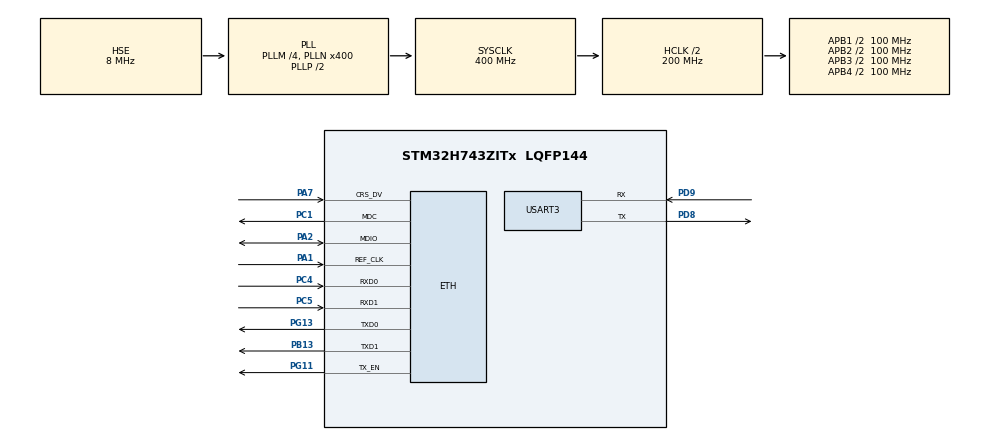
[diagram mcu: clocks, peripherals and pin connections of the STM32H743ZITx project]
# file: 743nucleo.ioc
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CORTEX_M7.AccessPermission-Cortex_Memory_Protection_Unit_Region0_Settings=MPU_REGION_PRIV_RO_URO
CORTEX_M7.AccessPermission-Cortex_Memory_Protection_Unit_Region1_Settings=MPU_REGION_FULL_ACCESS
CORTEX_M7.AccessPermission-Cortex_Memory_Protection_Unit_Region2_Settings=MPU_REGION_FULL_ACCESS
CORTEX_M7.AccessPermission-Cortex_Memory_Protection_Unit_Region3_Settings=MPU_REGION_FULL_ACCESS
CORTEX_M7.AccessPermission-Cortex_Memory_Protection_Unit_Region4_Settings=MPU_REGION_FULL_ACCESS
CORTEX_M7.AccessPermission-Cortex_Memory_Protection_Unit_Region5_Settings=MPU_REGION_FULL_ACCESS
CORTEX_M7.AccessPermission-Cortex_Memory_Protection_Unit_Region6_Settings=MPU_REGION_FULL_ACCESS
CORTEX_M7.AccessPermission-Cortex_Memory_Protection_Unit_Region7_Settings=MPU_REGION_FULL_ACCESS
CORTEX_M7.BaseAddress-Cortex_Memory_Protection_Unit_Region0_Settings=0x08000000
CORTEX_M7.BaseAddress-Cortex_Memory_Protection_Unit_Region1_Settings=0x24000000
CORTEX_M7.BaseAddress-Cortex_Memory_Protection_Unit_Region2_Settings=0x30000000
CORTEX_M7.BaseAddress-Cortex_Memory_Protection_Unit_Region3_Settings=0x30020000
CORTEX_M7.BaseAddress-Cortex_Memory_Protection_Unit_Region4_Settings=0x30040000
CORTEX_M7.BaseAddress-Cortex_Memory_Protection_Unit_Region5_Settings=0x38000000
CORTEX_M7.BaseAddress-Cortex_Memory_Protection_Unit_Region6_Settings=0x38800000
CORTEX_M7.BaseAddress-Cortex_Memory_Protection_Unit_Region7_Settings=0x30044000
CORTEX_M7.CPU_DCache=Enabled
CORTEX_M7.CPU_ICache=Enabled
CORTEX_M7.Enable-Cortex_Memory_Protection_Unit_Region0_Settings=MPU_REGION_ENABLE
CORTEX_M7.Enable-Cortex_Memory_Protection_Unit_Region1_Settings=MPU_REGION_ENABLE
CORTEX_M7.Enable-Cortex_Memory_Protection_Unit_Region2_Settings=MPU_REGION_ENABLE
CORTEX_M7.Enable-Cortex_Memory_Protection_Unit_Region3_Settings=MPU_REGION_ENABLE
CORTEX_M7.Enable-Cortex_Memory_Protection_Unit_Region4_Settings=MPU_REGION_ENABLE
CORTEX_M7.Enable-Cortex_Memory_Protection_Unit_Region5_Settings=MPU_REGION_ENABLE
CORTEX_M7.Enable-Cortex_Memory_Protection_Unit_Region6_Settings=MPU_REGION_ENABLE
CORTEX_M7.Enable-Cortex_Memory_Protection_Unit_Region7_Settings=MPU_REGION_ENABLE
CORTEX_M7.IsBufferable-Cortex_Memory_Protection_Unit_Region1_Settings=MPU_ACCESS_NOT_BUFFERABLE
CORTEX_M7.IsBufferable-Cortex_Memory_Protection_Unit_Region4_Settings=MPU_ACCESS_BUFFERABLE
CORTEX_M7.IsCacheable-Cortex_Memory_Protection_Unit_Region0_Settings=MPU_ACCESS_CACHEABLE
CORTEX_M7.IsCacheable-Cortex_Memory_Protection_Unit_Region1_Settings=MPU_ACCESS_CACHEABLE
CORTEX_M7.IsCacheable-Cortex_Memory_Protection_Unit_Region2_Settings=MPU_ACCESS_CACHEABLE
CORTEX_M7.IsCacheable-Cortex_Memory_Protection_Unit_Region3_Settings=MPU_ACCESS_CACHEABLE
CORTEX_M7.IsCacheable-Cortex_Memory_Protection_Unit_Region4_Settings=MPU_ACCESS_NOT_CACHEABLE
CORTEX_M7.IsCacheable-Cortex_Memory_Protection_Unit_Region5_Settings=MPU_ACCESS_CACHEABLE
CORTEX_M7.IsCacheable-Cortex_Memory_Protection_Unit_Region6_Settings=MPU_ACCESS_CACHEABLE
CORTEX_M7.IsCacheable-Cortex_Memory_Protection_Unit_Region7_Settings=MPU_ACCESS_CACHEABLE
CORTEX_M7.IsShareable-Cortex_Memory_Protection_Unit_Region0_Settings=MPU_ACCESS_SHAREABLE
CORTEX_M7.IsShareable-Cortex_Memory_Protection_Unit_Region1_Settings=MPU_ACCESS_SHAREABLE
CORTEX_M7.IsShareable-Cortex_Memory_Protection_Unit_Region2_Settings=MPU_ACCESS_SHAREABLE
CORTEX_M7.IsShareable-Cortex_Memory_Protection_Unit_Region3_Settings=MPU_ACCESS_SHAREABLE
CORTEX_M7.IsShareable-Cortex_Memory_Protection_Unit_Region4_Settings=MPU_ACCESS_NOT_SHAREABLE
CORTEX_M7.IsShareable-Cortex_Memory_Protection_Unit_Region5_Settings=MPU_ACCESS_SHAREABLE
CORTEX_M7.IsShareable-Cortex_Memory_Protection_Unit_Region6_Settings=MPU_ACCESS_SHAREABLE
CORTEX_M7.MPU_Control=MPU_PRIVILEGED_DEFAULT
CORTEX_M7.Size-Cortex_Memory_Protection_Unit_Region0_Settings=MPU_REGION_SIZE_2MB
CORTEX_M7.Size-Cortex_Memory_Protection_Unit_Region1_Settings=MPU_REGION_SIZE_512KB
CORTEX_M7.Size-Cortex_Memory_Protection_Unit_Region2_Settings=MPU_REGION_SIZE_128KB
CORTEX_M7.Size-Cortex_Memory_Protection_Unit_Region3_Settings=MPU_REGION_SIZE_128KB
CORTEX_M7.Size-Cortex_Memory_Protection_Unit_Region4_Settings=MPU_REGION_SIZE_256B
CORTEX_M7.Size-Cortex_Memory_Protection_Unit_Region5_Settings=MPU_REGION_SIZE_64KB
CORTEX_M7.Size-Cortex_Memory_Protection_Unit_Region6_Settings=MPU_REGION_SIZE_4KB
CORTEX_M7.Size-Cortex_Memory_Protection_Unit_Region7_Settings=MPU_REGION_SIZE_16KB
Dma.Request0=USART3_RX
Dma.Request1=USART3_TX
Dma.USART3_RX.0.Direction=DMA_PERIPH_TO_MEMORY
Dma.USART3_RX.0.EventEnable=DISABLE
Dma.USART3_RX.0.FIFOMode=DMA_FIFOMODE_DISABLE
Dma.USART3_RX.0.Instance=DMA1_Stream0
Dma.USART3_RX.0.MemDataAlignment=DMA_MDATAALIGN_BYTE
Dma.USART3_RX.0.MemInc=DMA_MINC_ENABLE
Dma.USART3_RX.0.Mode=DMA_NORMAL
Dma.USART3_RX.0.PeriphDataAlignment=DMA_PDATAALIGN_BYTE
Dma.USART3_RX.0.PeriphInc=DMA_PINC_DISABLE
Dma.USART3_RX.0.Polarity=HAL_DMAMUX_REQ_GEN_RISING
Dma.USART3_RX.0.Priority=DMA_PRIORITY_LOW
Dma.USART3_RX.0.RequestNumber=1
Dma.USART3_RX.0.SyncEnable=DISABLE
Dma.USART3_RX.0.SyncPolarity=HAL_DMAMUX_SYNC_NO_EVENT
Dma.USART3_RX.0.SyncRequestNumber=1
Dma.USART3_TX.1.Direction=DMA_MEMORY_TO_PERIPH
Dma.USART3_TX.1.EventEnable=DISABLE
Dma.USART3_TX.1.FIFOMode=DMA_FIFOMODE_DISABLE
Dma.USART3_TX.1.Instance=DMA1_Stream1
Dma.USART3_TX.1.MemDataAlignment=DMA_MDATAALIGN_BYTE
Dma.USART3_TX.1.MemInc=DMA_MINC_ENABLE
Dma.USART3_TX.1.Mode=DMA_NORMAL
Dma.USART3_TX.1.PeriphDataAlignment=DMA_PDATAALIGN_BYTE
Dma.USART3_TX.1.PeriphInc=DMA_PINC_DISABLE
Dma.USART3_TX.1.Polarity=HAL_DMAMUX_REQ_GEN_RISING
Dma.USART3_TX.1.Priority=DMA_PRIORITY_LOW
Dma.USART3_TX.1.RequestNumber=1
Dma.USART3_TX.1.SyncEnable=DISABLE
Dma.USART3_TX.1.SyncPolarity=HAL_DMAMUX_SYNC_NO_EVENT
Dma.USART3_TX.1.SyncRequestNumber=1
ETH.MACAddr=00\:80\:E1\:00\:00\:98
ETH.MediaInterface=HAL_ETH_RMII_MODE
FREERTOS.INCLUDE_pcTaskGetTaskName=1
FREERTOS.INCLUDE_xQueueGetMutexHolder=1
FREERTOS.INCLUDE_xSemaphoreGetMutexHolder=1
FREERTOS.Tasks01=defaultTask,0,128,StartDefaultTask,Default,NULL,Dynamic,NULL,NULL;myTask02lwip,0,128,StartTask02,Default,NULL,Dynamic,NULL,NULL;myTask03,-3,128,StartTask03,Default,NULL,Dynamic,NULL,NULL
FREERTOS.configCHECK_FOR_STACK_OVERFLOW=1
FREERTOS.configGENERATE_RUN_TIME_STATS=1
FREERTOS.configLIBRARY_MAX_SYSCALL_INTERRUPT_PRIORITY=15
FREERTOS.configUSE_IDLE_HOOK=1
FREERTOS.configUSE_MALLOC_FAILED_HOOK=1
FREERTOS.configUSE_STATS_FORMATTING_FUNCTIONS=1
FREERTOS.configUSE_TICK_HOOK=1
FREERTOS.configUSE_TRACE_FACILITY=1
LWIP.BSP.number=1
LWIP.GATEWAY_ADDRESS=192.168.001.001
LWIP.IP_ADDRESS=192.168.001.120
LWIP.LWIP_ARP=0
LWIP.LWIP_DHCP=1
LWIP.LWIP_DNS=1
LWIP.LWIP_ICMP=1
LWIP.NETMASK_ADDRESS=255.255.255.000
LWIP.Version=v2.0.3_Cube
LWIP0.BSP.STBoard=false
LWIP0.BSP.api=BSP_COMPONENT_DRIVER
LWIP0.BSP.component=LAN8742
LWIP0.BSP.i2caddr=0
LWIP0.BSP.instance=LAN8742
LWIP0.BSP.name=Driver_PHY
LWIP0.BSP.solution=LAN8742
Mcu.Family=STM32H7
Mcu.Name=STM32H743ZITx
Mcu.Package=LQFP144
NVIC.DMA1_Stream0_IRQn=true\:15\:0\:false\:false\:true\:true\:false
NVIC.DMA1_Stream1_IRQn=true\:15\:0\:false\:false\:true\:true\:false
NVIC.ETH_IRQn=true\:15\:0\:true\:false\:true\:true\:true
NVIC.ETH_WKUP_IRQn=true\:15\:0\:false\:false\:true\:true\:true
NVIC.PriorityGroup=NVIC_PRIORITYGROUP_4
NVIC.TIM7_IRQn=true\:0\:0\:false\:false\:true\:false\:false
NVIC.TimeBase=TIM7_IRQn
NVIC.TimeBaseIP=TIM7
NVIC.USART3_IRQn=true\:15\:0\:true\:false\:true\:true\:true
PA1.Mode=RMII
PA1.Signal=ETH_REF_CLK
PA13\ (JTMS/SWDIO).Mode=Serial_Wire
PA13\ (JTMS/SWDIO).Signal=SYS_JTMS-SWDIO
PA14\ (JTCK/SWCLK).Mode=Serial_Wire
PA14\ (JTCK/SWCLK).Signal=SYS_JTCK-SWCLK
PA2.Mode=RMII
PA2.Signal=ETH_MDIO
PA7.Mode=RMII
PA7.Signal=ETH_CRS_DV
PB13.Mode=RMII
PB13.Signal=ETH_TXD1
PC1.Mode=RMII
PC1.Signal=ETH_MDC
PC14-OSC32_IN\ (OSC32_IN).Mode=LSE-External-Clock-Source
PC14-OSC32_IN\ (OSC32_IN).Signal=RCC_OSC32_IN
PC15-OSC32_OUT\ (OSC32_OUT).Mode=LSE-External-Clock-Source
PC15-OSC32_OUT\ (OSC32_OUT).Signal=RCC_OSC32_OUT
PC4.Mode=RMII
PC4.Signal=ETH_RXD0
PC5.Mode=RMII
PC5.Signal=ETH_RXD1
PD8.Mode=Asynchronous
PD8.Signal=USART3_TX
PD9.Mode=Asynchronous
PD9.Signal=USART3_RX
PG11.Mode=RMII
PG11.Signal=ETH_TX_EN
PG13.Mode=RMII
PG13.Signal=ETH_TXD0
PH0-OSC_IN\ (PH0).Mode=HSE-External-Clock-Source
PH0-OSC_IN\ (PH0).Signal=RCC_OSC_IN
PH1-OSC_OUT\ (PH1).Mode=HSE-External-Clock-Source
PH1-OSC_OUT\ (PH1).Signal=RCC_OSC_OUT
ProjectManager.HeapSize=0x2000
ProjectManager.StackSize=0x4000
ProjectManager.TargetToolchain=MDK-ARM V5
RCC.ADCFreq_Value=16125000
RCC.APB1Freq_Value=100000000
RCC.APB2Freq_Value=100000000
RCC.APB3Freq_Value=100000000
RCC.APB4Freq_Value=100000000
RCC.CortexFreq_Value=400000000
RCC.D1PPRE=RCC_APB3_DIV2
RCC.D2PPRE1=RCC_APB1_DIV2
RCC.D2PPRE2=RCC_APB2_DIV2
RCC.D3PPRE=RCC_APB4_DIV2
RCC.DIVM1=1
RCC.DIVN1=100
RCC.HCLKFreq_Value=200000000
RCC.HPRE=RCC_HCLK_DIV2
RCC.HSE_VALUE=8000000
RCC.PLLSourceVirtual=RCC_PLLSOURCE_HSE
RCC.RCC_MCO1Source=RCC_MCO1SOURCE_PLL1QCLK
RCC.RCC_MCODiv1=RCC_MCODIV_8
RCC.SYSCLKFreq_VALUE=400000000
RCC.SYSCLKSource=RCC_SYSCLKSOURCE_PLLCLK
RCC.USBFreq_Value=400000000
USART3.VirtualMode-Asynchronous=VM_ASYNC
VP_FREERTOS_VS_ENABLE.Mode=Enabled
VP_LWIP_VS_Enabled.Mode=Enabled
VP_SYS_VS_tim7.Mode=TIM7
board=custom

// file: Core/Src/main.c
/* USER CODE BEGIN Header */
/**
  ******************************************************************************
  * @file           : main.c
  * @brief          : Main program body
  ******************************************************************************
  * This notice applies to any and all portions of this file
  * that are not between comment pairs USER CODE BEGIN and
  * USER CODE END. Other portions of this file, whether
  * inserted by the user or by software development tools
  * are owned by their respective copyright owners.
  *
  * Copyright (c) 2019 STMicroelectronics International N.V.
  * All rights reserved.
  *
  * Redistribution and use in source and binary forms, with or without
  * modification, are permitted, provided that the following conditions are met:
  *
  * 1. Redistribution of source code must retain the above copyright notice,
  *    this list of conditions and the following disclaimer.
  * 2. Redistributions in binary form must reproduce the above copyright notice,
  *    this list of conditions and the following disclaimer in the documentation
  *    and/or other materials provided with the distribution.
  * 3. Neither the name of STMicroelectronics nor the names of other
  *    contributors to this software may be used to endorse or promote products
  *    derived from this software without specific written permission.
  * 4. This software, including modifications and/or derivative works of this
  *    software, must execute solely and exclusively on microcontroller or
  *    microprocessor devices manufactured by or for STMicroelectronics.
  * 5. Redistribution and use of this software other than as permitted under
  *    this license is void and will automatically terminate your rights under
  *    this license.
  *
  * THIS SOFTWARE IS PROVIDED BY STMICROELECTRONICS AND CONTRIBUTORS "AS IS"
  * AND ANY EXPRESS, IMPLIED OR STATUTORY WARRANTIES, INCLUDING, BUT NOT
  * LIMITED TO, THE IMPLIED WARRANTIES OF MERCHANTABILITY, FITNESS FOR A
  * PARTICULAR PURPOSE AND NON-INFRINGEMENT OF THIRD PARTY INTELLECTUAL PROPERTY
  * RIGHTS ARE DISCLAIMED TO THE FULLEST EXTENT PERMITTED BY LAW. IN NO EVENT
  * SHALL STMICROELECTRONICS OR CONTRIBUTORS BE LIABLE FOR ANY DIRECT, INDIRECT,
  * INCIDENTAL, SPECIAL, EXEMPLARY, OR CONSEQUENTIAL DAMAGES (INCLUDING, BUT NOT
  * LIMITED TO, PROCUREMENT OF SUBSTITUTE GOODS OR SERVICES; LOSS OF USE, DATA,
  * OR PROFITS; OR BUSINESS INTERRUPTION) HOWEVER CAUSED AND ON ANY THEORY OF
  * LIABILITY, WHETHER IN CONTRACT, STRICT LIABILITY, OR TORT (INCLUDING
  * NEGLIGENCE OR OTHERWISE) ARISING IN ANY WAY OUT OF THE USE OF THIS SOFTWARE,
  * EVEN IF ADVISED OF THE POSSIBILITY OF SUCH DAMAGE.
  *
  ******************************************************************************
  */
/* USER CODE END Header */

#include "main.h"
#include "cmsis_os.h"
#include "dma.h"
#include "lwip.h"
#include "usart.h"
#include "gpio.h"

/* USER CODE BEGIN Includes */
#include "stdio.h"
/* USER CODE END Includes */

void SystemClock_Config(void);
static void MPU_Config(void);
void MX_FREERTOS_Init(void);

/* USER CODE BEGIN 0 */
extern struct netif gnetif;

/* USER CODE END 0 */

int main(void)
{

  /* MPU Configuration--------------------------------------------------------*/
  MPU_Config();

  /* Enable I-Cache---------------------------------------------------------*/
  SCB_EnableICache();

  /* Enable D-Cache---------------------------------------------------------*/
  SCB_EnableDCache();

  /* MCU Configuration--------------------------------------------------------*/

  /* Reset of all peripherals, Initializes the Flash interface and the Systick. */
  HAL_Init();

  /* Configure the system clock */
  SystemClock_Config();

  /* USER CODE BEGIN SysInit */
   __HAL_RCC_D2SRAM3_CLK_ENABLE();
  /* USER CODE END SysInit */

  /* Initialize all configured peripherals */
  MX_GPIO_Init();
  MX_DMA_Init();
  MX_USART3_UART_Init();
  /* USER CODE BEGIN 2 */

printf("start free os\r\n");
  /* USER CODE END 2 */

  /* Call init function for freertos objects (in freertos.c) */
  MX_FREERTOS_Init();

  /* Start scheduler */
  osKernelStart();

  /* We should never get here as control is now taken by the scheduler */

  /* Infinite loop */
  /* USER CODE BEGIN WHILE */
  while (1)
  {

		osDelay(10);

    /* USER CODE END WHILE */

  }
}

void SystemClock_Config(void)
{
  RCC_ClkInitTypeDef RCC_ClkInitStruct;
  RCC_OscInitTypeDef RCC_OscInitStruct;
  HAL_StatusTypeDef ret = HAL_OK;

  /*!< Supply configuration update enable */
  MODIFY_REG(PWR->CR3, PWR_CR3_SCUEN, 0);

  /* The voltage scaling allows optimizing the power consumption when the device is
     clocked below the maximum system frequency, to update the voltage scaling value
     regarding system frequency refer to product datasheet.  */
  __HAL_PWR_VOLTAGESCALING_CONFIG(PWR_REGULATOR_VOLTAGE_SCALE1);

  while(!__HAL_PWR_GET_FLAG(PWR_FLAG_VOSRDY)) {}

  /* Enable D2 domain SRAM3 Clock (0x30040000 AXI)*/
  __HAL_RCC_D2SRAM3_CLK_ENABLE();

  /* Enable HSE Oscillator and activate PLL with HSE as source */
  RCC_OscInitStruct.OscillatorType = RCC_OSCILLATORTYPE_HSE;
  RCC_OscInitStruct.HSEState = RCC_HSE_BYPASS;
  RCC_OscInitStruct.HSIState = RCC_HSI_OFF;
  RCC_OscInitStruct.CSIState = RCC_CSI_OFF;
  RCC_OscInitStruct.PLL.PLLState = RCC_PLL_ON;
  RCC_OscInitStruct.PLL.PLLSource = RCC_PLLSOURCE_HSE;

  RCC_OscInitStruct.PLL.PLLM = 4;
  RCC_OscInitStruct.PLL.PLLN = 400;
  RCC_OscInitStruct.PLL.PLLP = 2;
  RCC_OscInitStruct.PLL.PLLR = 2;
  RCC_OscInitStruct.PLL.PLLQ = 4;

  RCC_OscInitStruct.PLL.PLLVCOSEL = RCC_PLL1VCOWIDE;
  RCC_OscInitStruct.PLL.PLLRGE = RCC_PLL1VCIRANGE_2;
  ret = HAL_RCC_OscConfig(&RCC_OscInitStruct);
  if(ret != HAL_OK)
  {
    while(1);
  }

  /* Select PLL as system clock source and configure  bus clocks dividers */
  RCC_ClkInitStruct.ClockType = (RCC_CLOCKTYPE_SYSCLK | RCC_CLOCKTYPE_HCLK | RCC_CLOCKTYPE_D1PCLK1 | RCC_CLOCKTYPE_PCLK1 | \
                                 RCC_CLOCKTYPE_PCLK2  | RCC_CLOCKTYPE_D3PCLK1);

  RCC_ClkInitStruct.SYSCLKSource = RCC_SYSCLKSOURCE_PLLCLK;
  RCC_ClkInitStruct.SYSCLKDivider = RCC_SYSCLK_DIV1;
  RCC_ClkInitStruct.AHBCLKDivider = RCC_HCLK_DIV2;
  RCC_ClkInitStruct.APB3CLKDivider = RCC_APB3_DIV2;
  RCC_ClkInitStruct.APB1CLKDivider = RCC_APB1_DIV2;
  RCC_ClkInitStruct.APB2CLKDivider = RCC_APB2_DIV2;
  RCC_ClkInitStruct.APB4CLKDivider = RCC_APB4_DIV2;
  ret = HAL_RCC_ClockConfig(&RCC_ClkInitStruct, FLASH_LATENCY_4);
  if(ret != HAL_OK)
  {
    while(1);
  }
}

/* USER CODE BEGIN 4 */
void disp_ipaddr(void)
{
        printf("\rip4addr:%d.%d.%d.%d ", ((uint8_t*)(&(gnetif.ip_addr.addr)))[0], ((uint8_t*)(&gnetif.ip_addr.addr))[1],
               ((uint8_t*)(&gnetif.ip_addr.addr))[2], ((uint8_t*)(&gnetif.ip_addr.addr))[3]);
}
/* USER CODE END 4 */

/* MPU Configuration */

void MPU_Config(void)
{
 MPU_Region_InitTypeDef MPU_InitStruct;

  /* Disable the MPU */
  HAL_MPU_Disable();

  /* Configure the MPU attributes as Device not cacheable
     for ETH DMA descriptors */
  MPU_InitStruct.Enable = MPU_REGION_ENABLE;
  MPU_InitStruct.BaseAddress = 0x30040000;
  MPU_InitStruct.Size = MPU_REGION_SIZE_256B;
  MPU_InitStruct.AccessPermission = MPU_REGION_FULL_ACCESS;
  MPU_InitStruct.IsBufferable = MPU_ACCESS_BUFFERABLE;
  MPU_InitStruct.IsCacheable = MPU_ACCESS_NOT_CACHEABLE;
  MPU_InitStruct.IsShareable = MPU_ACCESS_NOT_SHAREABLE;
  MPU_InitStruct.Number = MPU_REGION_NUMBER0;
  MPU_InitStruct.TypeExtField = MPU_TEX_LEVEL0;
  MPU_InitStruct.SubRegionDisable = 0x00;
  MPU_InitStruct.DisableExec = MPU_INSTRUCTION_ACCESS_ENABLE;

  HAL_MPU_ConfigRegion(&MPU_InitStruct);

  /* Configure the MPU attributes as Cacheable write through
     for LwIP RAM heap which contains the Tx buffers */
  MPU_InitStruct.Enable = MPU_REGION_ENABLE;
  MPU_InitStruct.BaseAddress = 0x30044000;
  MPU_InitStruct.Size = MPU_REGION_SIZE_16KB;
  MPU_InitStruct.AccessPermission = MPU_REGION_FULL_ACCESS;
  MPU_InitStruct.IsBufferable = MPU_ACCESS_NOT_BUFFERABLE;
  MPU_InitStruct.IsCacheable = MPU_ACCESS_CACHEABLE;
  MPU_InitStruct.IsShareable = MPU_ACCESS_NOT_SHAREABLE;
  MPU_InitStruct.Number = MPU_REGION_NUMBER1;
  MPU_InitStruct.TypeExtField = MPU_TEX_LEVEL0;
  MPU_InitStruct.SubRegionDisable = 0x00;
  MPU_InitStruct.DisableExec = MPU_INSTRUCTION_ACCESS_ENABLE;

  HAL_MPU_ConfigRegion(&MPU_InitStruct);

  /* Enable the MPU */
  HAL_MPU_Enable(MPU_PRIVILEGED_DEFAULT);

}
void HAL_TIM_PeriodElapsedCallback(TIM_HandleTypeDef *htim)
{
  if (htim->Instance == TIM7) {
    HAL_IncTick();
  }
}

void Error_Handler(void)
{
}

/************************ (C) COPYRIGHT STMicroelectronics *****END OF FILE****/

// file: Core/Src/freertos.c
/* USER CODE BEGIN Header */
/**
  ******************************************************************************
  * File Name          : freertos.c
  * Description        : Code for freertos applications
  ******************************************************************************
  * This notice applies to any and all portions of this file
  * that are not between comment pairs USER CODE BEGIN and
  * USER CODE END. Other portions of this file, whether
  * inserted by the user or by software development tools
  * are owned by their respective copyright owners.
  *
  * Copyright (c) 2019 STMicroelectronics International N.V.
  * All rights reserved.
  *
  * Redistribution and use in source and binary forms, with or without
  * modification, are permitted, provided that the following conditions are met:
  *
  * 1. Redistribution of source code must retain the above copyright notice,
  *    this list of conditions and the following disclaimer.
  * 2. Redistributions in binary form must reproduce the above copyright notice,
  *    this list of conditions and the following disclaimer in the documentation
  *    and/or other materials provided with the distribution.
  * 3. Neither the name of STMicroelectronics nor the names of other
  *    contributors to this software may be used to endorse or promote products
  *    derived from this software without specific written permission.
  * 4. This software, including modifications and/or derivative works of this
  *    software, must execute solely and exclusively on microcontroller or
  *    microprocessor devices manufactured by or for STMicroelectronics.
  * 5. Redistribution and use of this software other than as permitted under
  *    this license is void and will automatically terminate your rights under
  *    this license.
  *
  * THIS SOFTWARE IS PROVIDED BY STMICROELECTRONICS AND CONTRIBUTORS "AS IS"
  * AND ANY EXPRESS, IMPLIED OR STATUTORY WARRANTIES, INCLUDING, BUT NOT
  * LIMITED TO, THE IMPLIED WARRANTIES OF MERCHANTABILITY, FITNESS FOR A
  * PARTICULAR PURPOSE AND NON-INFRINGEMENT OF THIRD PARTY INTELLECTUAL PROPERTY
  * RIGHTS ARE DISCLAIMED TO THE FULLEST EXTENT PERMITTED BY LAW. IN NO EVENT
  * SHALL STMICROELECTRONICS OR CONTRIBUTORS BE LIABLE FOR ANY DIRECT, INDIRECT,
  * INCIDENTAL, SPECIAL, EXEMPLARY, OR CONSEQUENTIAL DAMAGES (INCLUDING, BUT NOT
  * LIMITED TO, PROCUREMENT OF SUBSTITUTE GOODS OR SERVICES; LOSS OF USE, DATA,
  * OR PROFITS; OR BUSINESS INTERRUPTION) HOWEVER CAUSED AND ON ANY THEORY OF
  * LIABILITY, WHETHER IN CONTRACT, STRICT LIABILITY, OR TORT (INCLUDING
  * NEGLIGENCE OR OTHERWISE) ARISING IN ANY WAY OUT OF THE USE OF THIS SOFTWARE,
  * EVEN IF ADVISED OF THE POSSIBILITY OF SUCH DAMAGE.
  *
  ******************************************************************************
  */
/* USER CODE END Header */

#include "FreeRTOS.h"
#include "task.h"
#include "main.h"
#include "cmsis_os.h"

/* USER CODE BEGIN Includes */
#include "tcpecho.h"
#include "udpecho.h"
#include "stdio.h"
/* USER CODE END Includes */

/* USER CODE BEGIN PM */
extern struct netif gnetif;

/* USER CODE END PM */

osThreadId defaultTaskHandle;
osThreadId myTask02lwipHandle;
osThreadId myTask03Handle;

void StartDefaultTask(void const * argument);
void StartTask02(void const * argument);
void StartTask03(void const * argument);

extern void MX_LWIP_Init(void);
void MX_FREERTOS_Init(void); /* (MISRA C 2004 rule 8.1) */

/* Hook prototypes */
void configureTimerForRunTimeStats(void);
unsigned long getRunTimeCounterValue(void);
void vApplicationIdleHook(void);
void vApplicationTickHook(void);
void vApplicationStackOverflowHook(xTaskHandle xTask, signed char *pcTaskName);
void vApplicationMallocFailedHook(void);

/* USER CODE BEGIN 1 */
/* Functions needed when configGENERATE_RUN_TIME_STATS is on */
__weak void configureTimerForRunTimeStats(void)
{

}

__weak unsigned long getRunTimeCounterValue(void)
{
    return 0;
}
/* USER CODE END 1 */

/* USER CODE BEGIN 2 */
__weak void vApplicationIdleHook( void )
{
    /* vApplicationIdleHook() will only be called if configUSE_IDLE_HOOK is set
    to 1 in FreeRTOSConfig.h. It will be called on each iteration of the idle
    task. It is essential that code added to this hook function never attempts
    to block in any way (for example, call xQueueReceive() with a block time
    specified, or call vTaskDelay()). If the application makes use of the
    vTaskDelete() API function (as this demo application does) then it is also
    important that vApplicationIdleHook() is permitted to return to its calling
    function, because it is the responsibility of the idle task to clean up
    memory allocated by the kernel to any task that has since been deleted. */
}
/* USER CODE END 2 */

/* USER CODE BEGIN 3 */
__weak void vApplicationTickHook( void )
{
    /* This function will be called by each tick interrupt if
    configUSE_TICK_HOOK is set to 1 in FreeRTOSConfig.h. User code can be
    added here, but the tick hook is called from an interrupt context, so
    code must not attempt to block, and only the interrupt safe FreeRTOS API
    functions can be used (those that end in FromISR()). */
}
/* USER CODE END 3 */

/* USER CODE BEGIN 4 */
__weak void vApplicationStackOverflowHook(xTaskHandle xTask, signed char *pcTaskName)
{
    /* Run time stack overflow checking is performed if
    configCHECK_FOR_STACK_OVERFLOW is defined to 1 or 2. This hook function is
    called if a stack overflow is detected. */
}
/* USER CODE END 4 */

/* USER CODE BEGIN 5 */
__weak void vApplicationMallocFailedHook(void)
{
    /* vApplicationMallocFailedHook() will only be called if
    configUSE_MALLOC_FAILED_HOOK is set to 1 in FreeRTOSConfig.h. It is a hook
    function that will get called if a call to pvPortMalloc() fails.
    pvPortMalloc() is called internally by the kernel whenever a task, queue,
    timer or semaphore is created. It is also called by various parts of the
    demo application. If heap_1.c or heap_2.c are used, then the size of the
    heap available to pvPortMalloc() is defined by configTOTAL_HEAP_SIZE in
    FreeRTOSConfig.h, and the xPortGetFreeHeapSize() API function can be used
    to query the size of free heap space that remains (although it does not
    provide information on how the remaining heap might be fragmented). */
}
/* USER CODE END 5 */

void MX_FREERTOS_Init(void) {

  /* Create the thread(s) */
  /* definition and creation of defaultTask */
  osThreadDef(defaultTask, StartDefaultTask, osPriorityNormal, 0, 128);
  defaultTaskHandle = osThreadCreate(osThread(defaultTask), NULL);

  /* definition and creation of myTask02lwip */
  osThreadDef(myTask02lwip, StartTask02, osPriorityNormal, 0, 128);
  myTask02lwipHandle = osThreadCreate(osThread(myTask02lwip), NULL);

  /* definition and creation of myTask03 */
  osThreadDef(myTask03, StartTask03, osPriorityIdle, 0, 128);
  myTask03Handle = osThreadCreate(osThread(myTask03), NULL);

}

void StartDefaultTask(void const * argument)
{
  /* init code for LWIP */
  MX_LWIP_Init();

  /* USER CODE BEGIN StartDefaultTask */
    tcpecho_init();
    udpecho_init();
    /* Infinite loop */
    for(;;)
    {

disp_ipaddr();
        osDelay(1000);
    }
  /* USER CODE END StartDefaultTask */
}

void StartTask02(void const * argument)
{
    for(;;)
    {
        osDelay(1);
    }
}

void StartTask03(void const * argument)
{
  for(;;)
  {
    osDelay(1);
  }
}

/************************ (C) COPYRIGHT STMicroelectronics *****END OF FILE****/
